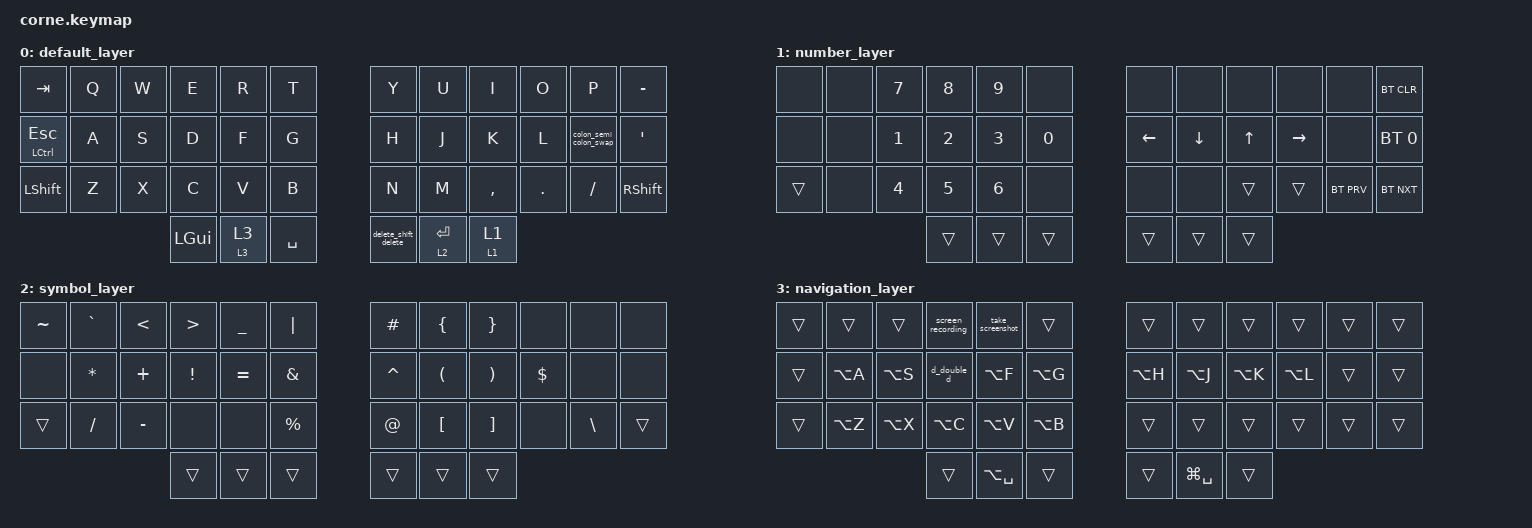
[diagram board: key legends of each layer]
/*
 * Copyright (c) 2020 The ZMK Contributors
 *
 * SPDX-License-Identifier: MIT
 */

#include <behaviors.dtsi>
#include <dt-bindings/zmk/bt.h>
#include <dt-bindings/zmk/keys.h>

/ {
    behaviors {
        colon_semi_colon_swap: colon_semi_colon_swap {
            compatible = "zmk,behavior-mod-morph";
            label = "COLON_SEMI_COLON_SWAP";
            bindings = <&kp COLON>, <&kp SEMICOLON>;

            #binding-cells = <0>;
            mods = <(MOD_LSFT|MOD_RSFT)>;
        };

        lt_hp: layer_tap_hold_preferred {
            compatible = "zmk,behavior-hold-tap";
            label = "LAYER_TAP_HOLD_PREFERRED";
            #binding-cells = <2>;
            tapping-term-ms = <200>;
            flavor = "hold-preferred";
            bindings = <&mo>, <&kp>;
        };

        delete_shift_delete: delete_shift_delete {
            compatible = "zmk,behavior-mod-morph";
            label = "DELETE_SHIFT_DELETE";
            bindings = <&kp BACKSPACE>, <&kp LA(BACKSPACE)>;

            #binding-cells = <0>;
            mods = <(MOD_LSFT|MOD_RSFT)>;
        };

        d_double_d: d_double_d {
            compatible = "zmk,behavior-tap-dance";
            label = "D_DOUBLE_D";
            #binding-cells = <0>;
            bindings = <&kp LA(D)>, <&kp LS(LA(D))>;

            tapping-term-ms = <175>;
        };

        hold_tap_layer: hold_tap_layer {
            compatible = "zmk,behavior-hold-tap";
            label = "HOLD_TAP_LAYER";
            bindings = <&mo>, <&sl>;

            #binding-cells = <2>;
            tapping-term-ms = <200>;
            quick-tap-ms = <150>;
        };
    };

    macros {
        take_screenshot: take_screenshot {
            compatible = "zmk,behavior-macro";
            #binding-cells = <0>;
            bindings = <&kp LG(LS(NUMBER_4))>;
            label = "TAKE_SCREENSHOT";
        };

        screen_recording: screen_recording {
            compatible = "zmk,behavior-macro";
            #binding-cells = <0>;
            bindings = <&kp LS(LG(NUMBER_5))>;
            label = "SCREEN_RECORDING";
        };
    };

    keymap {
        compatible = "zmk,keymap";

        default_layer {
            // -----------------------------------------------------------------------------------------
            // |  TAB |  Q  |  W  |  E  |  R  |  T  |   |  Y  |  U   |  I  |  O  |  P  | BKSP |
            // | CTRL |  A  |  S  |  D  |  F  |  G  |   |  H  |  J   |  K  |  L  |  ;  |  '   |
            // | SHFT |  Z  |  X  |  C  |  V  |  B  |   |  N  |  M   |  ,  |  .  |  /  | ESC  |
            //                    | GUI | LWR | SPC |   | ENT | RSE  | ALT |

            bindings = <
&kp TAB           &kp Q  &kp W  &kp E         &kp R                &kp T        &kp Y                 &kp U           &kp I                &kp O    &kp P                   &kp MINUS
&mt LCTRL ESCAPE  &kp A  &kp S  &kp D         &kp F                &kp G        &kp H                 &kp J           &kp K                &kp L    &colon_semi_colon_swap  &kp SQT
&kp LSHFT         &kp Z  &kp X  &kp C         &kp V                &kp B        &kp N                 &kp M           &kp COMMA            &kp DOT  &kp FSLH                &kp RIGHT_SHIFT
                                &kp LEFT_GUI  &hold_tap_layer 3 3  &kp SPACE    &delete_shift_delete  &lt_hp 2 ENTER  &hold_tap_layer 1 1
            >;
        };

        number_layer {
            // -----------------------------------------------------------------------------------------
            // |  TAB |  1  |  2  |  3  |  4  |  5  |   |  6  |  7  |  8  |  9  |  0  | BKSP |
            // | BTCLR| BT1 | BT2 | BT3 | BT4 | BT5 |   | LFT | DWN |  UP | RGT |     |      |
            // | SHFT |     |     |     |     |     |   |     |     |     |     |     |      |
            //                    | GUI |     | SPC |   | ENT |     | ALT |

            bindings = <
&none   &none  &kp NUMBER_7  &kp NUMBER_8  &kp NUMBER_9  &none           &none     &none     &none   &none      &none       &bt BT_CLR
&none   &none  &kp NUMBER_1  &kp NUMBER_2  &kp NUMBER_3  &kp NUMBER_0    &kp LEFT  &kp DOWN  &kp UP  &kp RIGHT  &none       &bt BT_SEL 0
&trans  &none  &kp NUMBER_4  &kp NUMBER_5  &kp NUMBER_6  &none           &none     &none     &trans  &trans     &bt BT_PRV  &bt BT_NXT
                             &trans        &trans        &trans          &trans    &trans    &trans
            >;
        };

        symbol_layer {
            // -----------------------------------------------------------------------------------------
            // |  TAB |  !  |  @  |  #  |  $  |  %  |   |  ^  |  &  |  *  |  (  |  )  | BKSP |
            // | CTRL |     |     |     |     |     |   |  -  |  =  |  [  |  ]  |  \  |  `   |
            // | SHFT |     |     |     |     |     |   |  _  |  +  |  {  |  }  | "|" |  ~   |
            //                    | GUI |     | SPC |   | ENT |     | ALT |

            bindings = <
&kp TILDE  &kp GRAVE     &kp LESS_THAN  &kp GREATER_THAN  &kp UNDER  &kp PIPE         &kp HASH   &kp LEFT_BRACE        &kp RIGHT_BRACE        &none       &none          &none
&none      &kp ASTERISK  &kp PLUS       &kp EXCL          &kp EQUAL  &kp AMPERSAND    &kp CARET  &kp LEFT_PARENTHESIS  &kp RIGHT_PARENTHESIS  &kp DOLLAR  &none          &none
&trans     &kp SLASH     &kp MINUS      &none             &none      &kp PERCENT      &kp AT     &kp LEFT_BRACKET      &kp RIGHT_BRACKET      &none       &kp BACKSLASH  &trans
                                        &trans            &trans     &trans           &trans     &trans                &trans
            >;
        };

        navigation_layer {
            bindings = <
&trans  &trans     &trans     &screen_recording  &take_screenshot  &trans       &trans     &trans         &trans     &trans     &trans  &trans
&trans  &kp LA(A)  &kp LA(S)  &d_double_d        &kp LA(F)         &kp LA(G)    &kp LA(H)  &kp LA(J)      &kp LA(K)  &kp LA(L)  &trans  &trans
&trans  &kp LA(Z)  &kp LA(X)  &kp LA(C)          &kp LA(V)         &kp LA(B)    &trans     &trans         &trans     &trans     &trans  &trans
                              &trans             &kp LA(SPACE)     &trans       &trans     &kp LG(SPACE)  &trans
            >;
        };
    };
};
